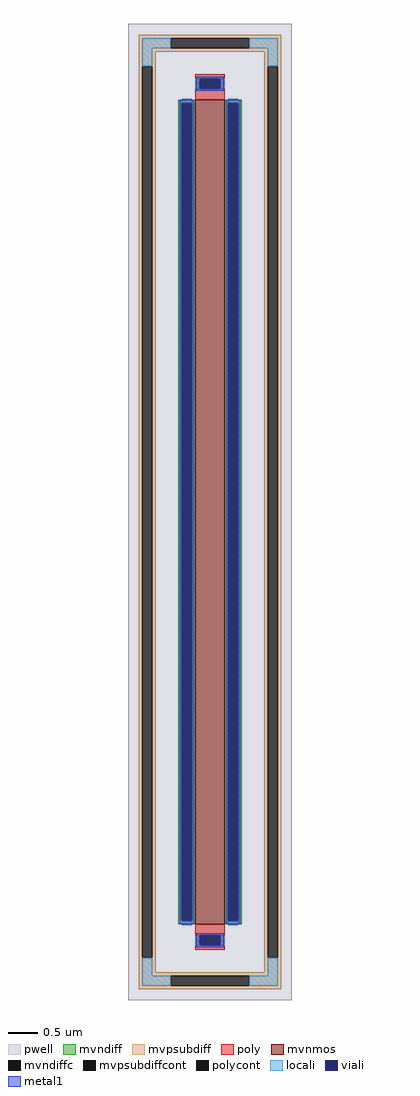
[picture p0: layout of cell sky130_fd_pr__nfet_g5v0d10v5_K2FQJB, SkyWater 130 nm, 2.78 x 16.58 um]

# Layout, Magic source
magic
tech sky130B
<< pwell >>
rect -139 -829 139 829
<< mvnmos >>
rect -25 -700 25 700
<< mvndiff >>
rect -54 694 -25 700
rect -54 -694 -48 694
rect -31 -694 -25 694
rect -54 -700 -25 -694
rect 25 694 54 700
rect 25 -694 31 694
rect 48 -694 54 694
rect 25 -700 54 -694
<< mvndiffc >>
rect -48 -694 -31 694
rect 31 -694 48 694
<< mvpsubdiff >>
rect -121 805 121 811
rect -121 788 -67 805
rect 67 788 121 805
rect -121 782 121 788
rect -121 757 -92 782
rect -121 -757 -115 757
rect -98 -757 -92 757
rect 92 757 121 782
rect -121 -782 -92 -757
rect 92 -757 98 757
rect 115 -757 121 757
rect 92 -782 121 -757
rect -121 -788 121 -782
rect -121 -805 -67 -788
rect 67 -805 121 -788
rect -121 -811 121 -805
<< mvpsubdiffcont >>
rect -67 788 67 805
rect -115 -757 -98 757
rect 98 -757 115 757
rect -67 -805 67 -788
<< poly >>
rect -25 736 25 744
rect -25 719 -17 736
rect 17 719 25 736
rect -25 700 25 719
rect -25 -719 25 -700
rect -25 -736 -17 -719
rect 17 -736 25 -719
rect -25 -744 25 -736
<< polycont >>
rect -17 719 17 736
rect -17 -736 17 -719
<< locali >>
rect -115 788 -67 805
rect 67 788 115 805
rect -115 757 -98 788
rect 98 757 115 788
rect -25 719 -17 736
rect 17 719 25 736
rect -48 694 -31 702
rect -48 -702 -31 -694
rect 31 694 48 702
rect 31 -702 48 -694
rect -25 -736 -17 -719
rect 17 -736 25 -719
rect -115 -788 -98 -757
rect 98 -788 115 -757
rect -115 -805 -67 -788
rect 67 -805 115 -788
<< viali >>
rect -17 719 17 736
rect -48 -694 -31 694
rect 31 -694 48 694
rect -17 -736 17 -719
<< metal1 >>
rect -23 736 23 739
rect -23 719 -17 736
rect 17 719 23 736
rect -23 716 23 719
rect -51 694 -28 700
rect -51 -694 -48 694
rect -31 -694 -28 694
rect -51 -700 -28 -694
rect 28 694 51 700
rect 28 -694 31 694
rect 48 -694 51 694
rect 28 -700 51 -694
rect -23 -719 23 -716
rect -23 -736 -17 -719
rect 17 -736 23 -719
rect -23 -739 23 -736
<< properties >>
string FIXED_BBOX -106 -796 106 796
string gencell sky130_fd_pr__nfet_g5v0d10v5
string library sky130
string parameters w 14.0 l 0.5 m 1 nf 1 diffcov 100 polycov 100 guard 1 glc 1 grc 1 gtc 1 gbc 1 tbcov 100 rlcov 100 topc 1 botc 1 poverlap 0 doverlap 1 lmin 0.50 wmin 0.42 compatible {sky130_fd_pr__nfet_01v8 sky130_fd_pr__nfet_01v8_lvt  sky130_fd_bs_flash__special_sonosfet_star  sky130_fd_pr__nfet_g5v0d10v5 sky130_fd_pr__nfet_05v0_nvt  sky130_fd_pr__nfet_03v3_nvt} full_metal 1 viasrc 100 viadrn 100 viagate 100 viagb 0 viagr 0 viagl 0 viagt 0
<< end >>
